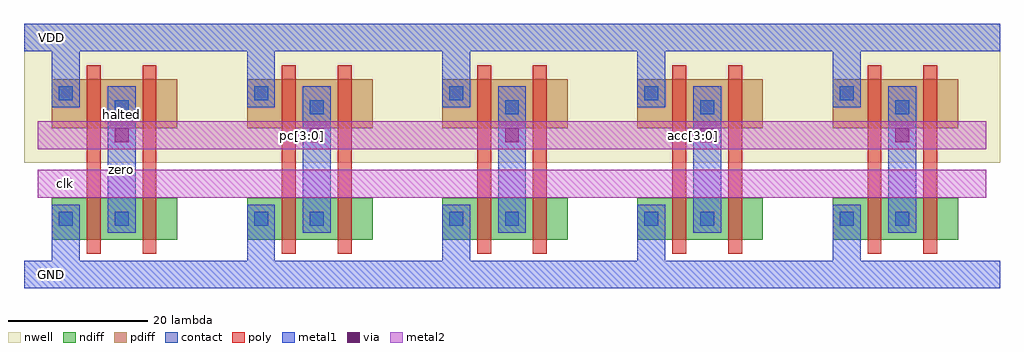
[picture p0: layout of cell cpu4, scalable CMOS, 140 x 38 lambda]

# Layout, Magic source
magic
tech scmos
<< metal1 >>
rect 0 35 140 39
rect 0 1 140 5
rect 4 27 8 35
rect 4 5 8 13
rect 12 9 16 30
rect 32 27 36 35
rect 32 5 36 13
rect 40 9 44 30
rect 60 27 64 35
rect 60 5 64 13
rect 68 9 72 30
rect 88 27 92 35
rect 88 5 92 13
rect 96 9 100 30
rect 116 27 120 35
rect 116 5 120 13
rect 124 9 128 30
<< nwell >>
rect 0 19 140 39
<< metal2 >>
rect 2 14 138 18
rect 2 21 138 25
<< pdiff >>
rect 4 24 22 31
rect 32 24 50 31
rect 60 24 78 31
rect 88 24 106 31
rect 116 24 134 31
<< ndiff >>
rect 4 8 22 14
rect 32 8 50 14
rect 60 8 78 14
rect 88 8 106 14
rect 116 8 134 14
<< poly >>
rect 9 6 11 33
rect 17 6 19 33
rect 37 6 39 33
rect 45 6 47 33
rect 65 6 67 33
rect 73 6 75 33
rect 93 6 95 33
rect 101 6 103 33
rect 121 6 123 33
rect 129 6 131 33
<< contact >>
rect 5 28 7 30
rect 5 10 7 12
rect 13 26 15 28
rect 13 10 15 12
rect 33 28 35 30
rect 33 10 35 12
rect 41 26 43 28
rect 41 10 43 12
rect 61 28 63 30
rect 61 10 63 12
rect 69 26 71 28
rect 69 10 71 12
rect 89 28 91 30
rect 89 10 91 12
rect 97 26 99 28
rect 97 10 99 12
rect 117 28 119 30
rect 117 10 119 12
rect 125 26 127 28
rect 125 10 127 12
<< via >>
rect 13 22 15 24
rect 41 22 43 24
rect 69 22 71 24
rect 97 22 99 24
rect 125 22 127 24
<< labels >>
rlabel metal1 4 37 4 37 0 VDD
rlabel metal1 4 3 4 3 0 GND
rlabel metal2 6 16 6 16 0 clk
rlabel poly 9 18 9 18 0 instr[7:0]
rlabel metal2 40 23 40 23 0 pc[3:0]
rlabel metal2 96 23 96 23 0 acc[3:0]
rlabel metal1 14 18 14 18 0 zero
rlabel metal1 14 26 14 26 0 halted
<< end >>
